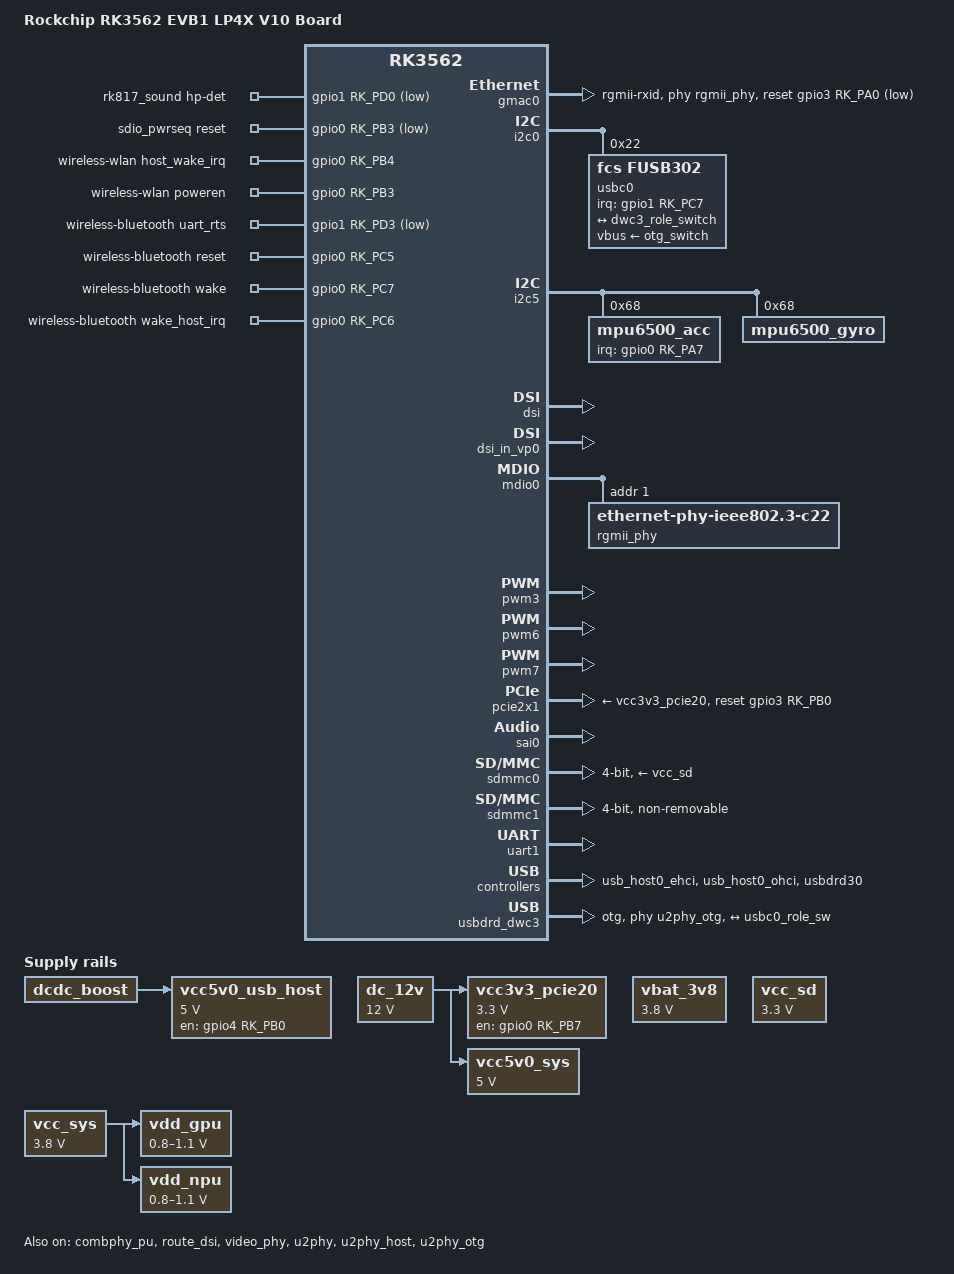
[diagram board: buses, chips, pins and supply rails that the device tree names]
// SPDX-License-Identifier: (GPL-2.0+ OR MIT)
/*
 * Copyright (c) 2022 Rockchip Electronics Co., Ltd.
 *
 */

/dts-v1/;

#include "dt-bindings/usb/pd.h"
#include "rk3562.dtsi"
#include "rk3562-evb.dtsi"
#include "rk3562-evb1-cam.dtsi"
#include <dt-bindings/gpio/gpio.h>
#include <dt-bindings/pinctrl/rockchip.h>
#include <dt-bindings/sensor-dev.h>

/ {
	model = "Rockchip RK3562 EVB1 LP4X V10 Board";
	compatible = "rockchip,rk3562-evb1-lp4x-v10", "rockchip,rk3562";

	dc_12v: dc-12v {
		compatible = "regulator-fixed";
		regulator-name = "dc_12v";
		regulator-always-on;
		regulator-boot-on;
		regulator-min-microvolt = <12000000>;
		regulator-max-microvolt = <12000000>;
	};

	rk817_sound: rk817-sound {
		status = "okay";
		compatible = "rockchip,multicodecs-card";
		rockchip,card-name = "rockchip-rk817";
		hp-det-gpio = <&gpio1 RK_PD0 GPIO_ACTIVE_LOW>;
		rockchip,format = "i2s";
		rockchip,mclk-fs = <256>;
		rockchip,cpu = <&sai0>;
		rockchip,codec = <&rk817_codec>;
		pinctrl-names = "default";
		pinctrl-0 = <&hp_det>;
	};

	sdio_pwrseq: sdio-pwrseq {
		compatible = "mmc-pwrseq-simple";
		clocks = <&rk817 1>;
		clock-names = "ext_clock";
		pinctrl-names = "default";
		pinctrl-0 = <&wifi_enable_h>;

		/*
		 * On the module itself this is one of these (depending
		 * on the actual card populated):
		 * - SDIO_RESET_L_WL_REG_ON
		 * - PDN (power down when low)
		 */
		post-power-on-delay-ms = <200>;
		reset-gpios = <&gpio0 RK_PB3 GPIO_ACTIVE_LOW>;
	};

	vcc3v3_pcie20: vcc3v3-pcie20 {
		compatible = "regulator-fixed";
		regulator-name = "vcc3v3_pcie20";
		regulator-min-microvolt = <3300000>;
		regulator-max-microvolt = <3300000>;
		enable-active-high;
		gpios = <&gpio0 RK_PB7 GPIO_ACTIVE_HIGH>;
		startup-delay-us = <5000>;
		vin-supply = <&dc_12v>;
	};

	vcc5v0_sys: vcc5v0-sys {
		compatible = "regulator-fixed";
		regulator-name = "vcc5v0_sys";
		regulator-always-on;
		regulator-boot-on;
		regulator-min-microvolt = <5000000>;
		regulator-max-microvolt = <5000000>;
		vin-supply = <&dc_12v>;
	};

	vcc5v0_usb_host: vcc5v0-usb-host {
		compatible = "regulator-fixed";
		regulator-name = "vcc5v0_usb_host";
		regulator-boot-on;
		regulator-always-on;
		regulator-min-microvolt = <5000000>;
		regulator-max-microvolt = <5000000>;
		enable-active-high;
		gpio = <&gpio4 RK_PB0 GPIO_ACTIVE_HIGH>;
		vin-supply = <&dcdc_boost>;
		pinctrl-names = "default";
		pinctrl-0 = <&usb_host_pwren>;
	};

	vbat_3v8: vbat-3v8 {
		compatible = "regulator-fixed";
		regulator-name = "vbat_3v8";
		regulator-always-on;
		regulator-boot-on;
		regulator-min-microvolt = <3800000>;
		regulator-max-microvolt = <3800000>;
	};

	vcc_sd: vcc-sd {
		compatible = "regulator-gpio";
		enable-active-low;
		regulator-boot-on;
		gpios = <&gpio0 RK_PA5 GPIO_ACTIVE_LOW>;
		regulator-min-microvolt = <3300000>;
		regulator-max-microvolt = <3300000>;
		pinctrl-names = "default";
		pinctrl-0 = <&vcc_sd_h>;
		regulator-name = "vcc_sd";
		states = <0 0x0
			  3300000 0x1>;
	};

	vcc_sys: vcc-sys {
		compatible = "regulator-fixed";
		regulator-name = "vcc_sys";
		regulator-always-on;
		regulator-boot-on;
		regulator-min-microvolt = <3800000>;
		regulator-max-microvolt = <3800000>;
	};

	vdd_gpu: vdd-gpu {
		compatible = "pwm-regulator";
		pwms = <&pwm7 0 5000 1>;
		regulator-name = "vdd_gpu";
		regulator-min-microvolt = <800000>;
		regulator-max-microvolt = <1100000>;
		regulator-init-microvolt = <900000>;
		regulator-always-on;
		regulator-boot-on;
		regulator-settling-time-up-us = <250>;
		pwm-supply = <&vcc_sys>;
		status = "okay";
	};

	vdd_npu: vdd-npu {
		compatible = "pwm-regulator";
		pwms = <&pwm6 0 5000 1>;
		regulator-name = "vdd_npu";
		regulator-min-microvolt = <800000>;
		regulator-max-microvolt = <1100000>;
		regulator-init-microvolt = <900000>;
		regulator-always-on;
		regulator-boot-on;
		regulator-settling-time-up-us = <250>;
		pwm-supply = <&vcc_sys>;
		status = "okay";
	};

	wireless-wlan {
		compatible = "wlan-platdata";
		rockchip,grf = <&sys_grf>;
		wifi_chip_type = "ap6275s";
		pinctrl-names = "default";
		pinctrl-0 = <&wifi_host_wake_irq>;
		WIFI,host_wake_irq = <&gpio0 RK_PB4 GPIO_ACTIVE_HIGH>;
		WIFI,poweren_gpio = <&gpio0 RK_PB3 GPIO_ACTIVE_HIGH>;
		status = "okay";
	};

	wireless-bluetooth {
		compatible = "bluetooth-platdata";
		clocks = <&rk817 1>;
		clock-names = "ext_clock";
		//wifi-bt-power-toggle;
		uart_rts_gpios = <&gpio1 RK_PD3 GPIO_ACTIVE_LOW>;
		pinctrl-names = "default", "rts_gpio";
		pinctrl-0 = <&uart1m0_rtsn>;
		pinctrl-1 = <&uart1_gpios>;
		BT,reset_gpio    = <&gpio0 RK_PC5 GPIO_ACTIVE_HIGH>;
		BT,wake_gpio     = <&gpio0 RK_PC7 GPIO_ACTIVE_HIGH>;
		BT,wake_host_irq = <&gpio0 RK_PC6 GPIO_ACTIVE_HIGH>;
		status = "okay";
	};
};

&bus_soc {
	rockchip,soc-bus-table = <0 0x00a000a8 0x7001>,
				 <1 0x00a000a8 0x7c39>,
				 <2 0x00a000a8 0x7c39>,
				 <3 0x00a000a8 0x7c39>,
				 <4 0x00a000a5 0xb007>,
				 <5 0x00a000a8 0x7034>,
				 <6 0x00a000a8 0x7034>,
				 <7 0x00a000a8 0x7034>,
				 <8 0x00a000a8 0x7001>;
};

&gmac0 {
	/* Use rgmii-rxid mode to disable rx delay inside Soc */
	phy-mode = "rgmii-rxid";
	clock_in_out = "output";

	snps,reset-gpio = <&gpio3 RK_PA0 GPIO_ACTIVE_LOW>;
	snps,reset-active-low;
	/* Reset time is 20ms, 100ms for rtl8211f */
	snps,reset-delays-us = <0 20000 100000>;

	tx_delay = <0x42>;
	/* rx_delay = <0x3f>; */

	pinctrl-names = "default";
	pinctrl-0 = <&rgmiim0_miim
		     &rgmiim0_tx_bus2
		     &rgmiim0_rx_bus2
		     &rgmiim0_rgmii_clk
		     &rgmiim0_rgmii_bus
		     &ethm0_pins>;

	phy-handle = <&rgmii_phy>;
	status = "okay";
};

&i2c0 {
	status = "okay";

	usbc0: fusb302@22 {
		compatible = "fcs,fusb302";
		reg = <0x22>;
		interrupt-parent = <&gpio1>;
		interrupts = <RK_PC7 IRQ_TYPE_LEVEL_LOW>;
		pinctrl-names = "default";
		pinctrl-0 = <&usbc0_int>;
		vbus-supply = <&otg_switch>;
		status = "okay";

		ports {
			#address-cells = <1>;
			#size-cells = <0>;

			port@0 {
				reg = <0>;
				usbc0_role_sw: endpoint@0 {
					remote-endpoint = <&dwc3_role_switch>;
				};
			};
		};

		usb_con: connector {
			compatible = "usb-c-connector";
			label = "USB-C";
			data-role = "dual";
			power-role = "dual";
			try-power-role = "sink";
			op-sink-microwatt = <1000000>;
			sink-pdos =
				<PDO_FIXED(5000, 1000, PDO_FIXED_USB_COMM)>;
			source-pdos =
				<PDO_FIXED(5000, 3000, PDO_FIXED_USB_COMM)>;
		};
	};
};

&i2c5 {
	status = "okay";

	mpu6500_acc: mpu_acc@68 {
		compatible = "mpu6500_acc";
		reg = <0x68>;
		irq-gpio = <&gpio0 RK_PA7 IRQ_TYPE_EDGE_RISING>;
		irq_enable = <0>;
		poll_delay_ms = <30>;
		type = <SENSOR_TYPE_ACCEL>;
		layout = <3>;
	};

	mpu6500_gyro: mpu_gyro@68 {
		compatible = "mpu6500_gyro";
		reg = <0x68>;
		poll_delay_ms = <30>;
		type = <SENSOR_TYPE_GYROSCOPE>;
		layout = <3>;
	};
};

&combphy_pu {
	status = "okay";
};

&dsi {
	status = "okay";
};

&dsi_in_vp0 {
	status = "okay";
};

&dsi_panel {
	power-supply = <&vcc3v3_lcd_n>;
	reset-gpios = <&gpio0 RK_PC4 GPIO_ACTIVE_LOW>;
	pinctrl-names = "default";
	pinctrl-0 = <&lcd_rst_gpio>;
};

&mdio0 {
	rgmii_phy: phy@1 {
		compatible = "ethernet-phy-ieee802.3-c22";
		reg = <0x1>;
		clocks = <&cru CLK_GMAC_ETH_OUT2IO>;
		assigned-clocks = <&cru CLK_GMAC_ETH_OUT2IO>;
		assigned-clock-rates = <25000000>;
	};
};

&pwm3 {
	status = "okay";

	compatible = "rockchip,remotectl-pwm";
	pinctrl-names = "default";
	pinctrl-0 = <&pwm3m0_pins>;
	assigned-clocks = <&cru CLK_PMU1_PWM0>;
	assigned-clock-rates = <24000000>;
	remote_pwm_id = <3>;
	handle_cpu_id = <1>;
	remote_support_psci = <1>;

	ir_key1 {
		rockchip,usercode = <0x4040>;
		rockchip,key_table =
			<0xf2	KEY_REPLY>,
			<0xba	KEY_BACK>,
			<0xf4	KEY_UP>,
			<0xf1	KEY_DOWN>,
			<0xef	KEY_LEFT>,
			<0xee	KEY_RIGHT>,
			<0xbd	KEY_HOME>,
			<0xea	KEY_VOLUMEUP>,
			<0xe3	KEY_VOLUMEDOWN>,
			<0xe2	KEY_SEARCH>,
			<0xb2	KEY_POWER>,
			<0xbc	KEY_MUTE>,
			<0xec	KEY_MENU>,
			<0xbf	0x190>,
			<0xe0	0x191>,
			<0xe1	0x192>,
			<0xe9	183>,
			<0xe6	248>,
			<0xe8	185>,
			<0xe7	186>,
			<0xf0	388>,
			<0xbe	0x175>;
	};

	ir_key2 {
		rockchip,usercode = <0xff00>;
		rockchip,key_table =
			<0xf9	KEY_HOME>,
			<0xbf	KEY_BACK>,
			<0xfb	KEY_MENU>,
			<0xaa	KEY_REPLY>,
			<0xb9	KEY_UP>,
			<0xe9	KEY_DOWN>,
			<0xb8	KEY_LEFT>,
			<0xea	KEY_RIGHT>,
			<0xeb	KEY_VOLUMEDOWN>,
			<0xef	KEY_VOLUMEUP>,
			<0xf7	KEY_MUTE>,
			<0xe7	KEY_POWER>,
			<0xfc	KEY_POWER>,
			<0xa9	KEY_VOLUMEDOWN>,
			<0xa8	KEY_VOLUMEDOWN>,
			<0xe0	KEY_VOLUMEDOWN>,
			<0xa5	KEY_VOLUMEDOWN>,
			<0xab	183>,
			<0xb7	388>,
			<0xe8	388>,
			<0xf8	184>,
			<0xaf	185>,
			<0xed	KEY_VOLUMEDOWN>,
			<0xee	186>,
			<0xb3	KEY_VOLUMEDOWN>,
			<0xf1	KEY_VOLUMEDOWN>,
			<0xf2	KEY_VOLUMEDOWN>,
			<0xf3	KEY_SEARCH>,
			<0xb4	KEY_VOLUMEDOWN>,
			<0xbe	KEY_SEARCH>;
	};

	ir_key3 {
		rockchip,usercode = <0x1dcc>;
		rockchip,key_table =
			<0xee	KEY_REPLY>,
			<0xf0	KEY_BACK>,
			<0xf8	KEY_UP>,
			<0xbb	KEY_DOWN>,
			<0xef	KEY_LEFT>,
			<0xed	KEY_RIGHT>,
			<0xfc	KEY_HOME>,
			<0xf1	KEY_VOLUMEUP>,
			<0xfd	KEY_VOLUMEDOWN>,
			<0xb7	KEY_SEARCH>,
			<0xff	KEY_POWER>,
			<0xf3	KEY_MUTE>,
			<0xbf	KEY_MENU>,
			<0xf9	0x191>,
			<0xf5	0x192>,
			<0xb3	388>,
			<0xbe	KEY_1>,
			<0xba	KEY_2>,
			<0xb2	KEY_3>,
			<0xbd	KEY_4>,
			<0xf9	KEY_5>,
			<0xb1	KEY_6>,
			<0xfc	KEY_7>,
			<0xf8	KEY_8>,
			<0xb0	KEY_9>,
			<0xb6	KEY_0>,
			<0xb5	KEY_BACKSPACE>;
	};
};

&pwm6 {
	status = "okay";
};

&pwm7 {
	status = "okay";
};

&route_dsi {
	status = "okay";
};

&vcc3v3_lcd_n {
	gpio = <&gpio0 RK_PC3 GPIO_ACTIVE_HIGH>;
	enable-active-high;
};

&video_phy {
	status = "okay";
};

&pcie2x1 {
	reset-gpios = <&gpio3 RK_PB0 GPIO_ACTIVE_HIGH>;
	vpcie3v3-supply = <&vcc3v3_pcie20>;
	status = "okay";
};

&pinctrl {
	headphone {
		hp_det: hp-det {
			rockchip,pins = <1 RK_PD0 RK_FUNC_GPIO &pcfg_pull_none>;
		};
	};

	lcd {
		lcd_rst_gpio: lcd-rst-gpio {
			rockchip,pins = <0 RK_PC4 RK_FUNC_GPIO &pcfg_pull_none>;
		};
	};

	sdio-pwrseq {
		wifi_enable_h: wifi-enable-h {
			rockchip,pins = <0 RK_PB3 RK_FUNC_GPIO &pcfg_pull_none>;
		};
	};

	vcc_sd {
		vcc_sd_h: vcc-sd-h {
			rockchip,pins = <0 RK_PA5 RK_FUNC_GPIO &pcfg_pull_down>;
		};
	};

	usb {
		usb_host_pwren: usb-host-pwren {
			rockchip,pins = <4 RK_PB0 RK_FUNC_GPIO &pcfg_pull_none>;
		};

		usbc0_int: usbc0-int {
			rockchip,pins = <1 RK_PC7 RK_FUNC_GPIO &pcfg_pull_up>;
		};
	};

	wireless-wlan {
		wifi_host_wake_irq: wifi-host-wake-irq {
			rockchip,pins = <0 RK_PB4 RK_FUNC_GPIO &pcfg_pull_down>;
		};
	};

	wireless-bluetooth {
		uart1_gpios: uart1-gpios {
			rockchip,pins = <1 RK_PD3 RK_FUNC_GPIO &pcfg_pull_none>;
		};
	};
};

&sai0 {
	status = "okay";
	pinctrl-names = "default";
	pinctrl-0 = <&i2s0m0_lrck
		     &i2s0m0_sclk
		     &i2s0m0_sdi0
		     &i2s0m0_sdo0>;
};

&sdmmc0 {
	no-sdio;
	no-mmc;
	bus-width = <4>;
	cap-mmc-highspeed;
	cap-sd-highspeed;
	disable-wp;
	sd-uhs-sdr104;
	vmmc-supply = <&vcc_sd>;
	vqmmc-supply = <&vccio_sd>;
	pinctrl-names = "default";
	pinctrl-0 = <&sdmmc0_bus4 &sdmmc0_clk &sdmmc0_cmd &sdmmc0_det>;
	status = "okay";
};

&sdmmc1 {
	no-sd;
	no-mmc;
	bus-width = <4>;
	disable-wp;
	cap-sd-highspeed;
	cap-sdio-irq;
	keep-power-in-suspend;
	mmc-pwrseq = <&sdio_pwrseq>;
	non-removable;
	pinctrl-names = "default";
	pinctrl-0 = <&sdmmc1_bus4 &sdmmc1_cmd &sdmmc1_clk>;
	sd-uhs-sdr104;
	status = "okay";
};

&u2phy {
	status = "okay";
};

&u2phy_host {
	status = "okay";
	phy-supply = <&vcc5v0_usb_host>;
};

&u2phy_otg {
	status = "okay";
};

&uart1 {
	status = "okay";
	pinctrl-names = "default";
	pinctrl-0 = <&uart1m0_xfer &uart1m0_ctsn>;
};

&usb_host0_ehci {
	status = "okay";
};

&usb_host0_ohci {
	status = "okay";
};

&usbdrd30 {
	status = "okay";
};

&usbdrd_dwc3 {
	status = "okay";

	dr_mode = "otg";
	maximum-speed = "high-speed";
	phys = <&u2phy_otg>;
	phy-names = "usb2-phy";
	snps,dis_u2_susphy_quirk;
	snps,usb2-lpm-disable;
	usb-role-switch;
	port {
		#address-cells = <1>;
		#size-cells = <0>;
		dwc3_role_switch: endpoint@0 {
			reg = <0>;
			remote-endpoint = <&usbc0_role_sw>;
		};
	};
};
